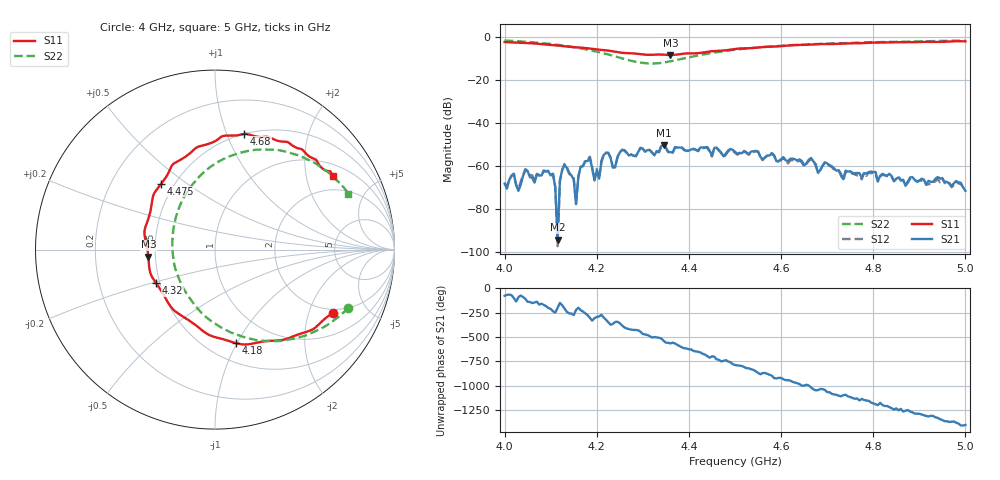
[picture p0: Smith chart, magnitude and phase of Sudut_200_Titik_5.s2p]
# Hz S RI R 50
! CMT, C1220, 16058040, 17.2.0/1
! Date: 15/08/2018 12:21:51
! Data: Format (Calibration Info)
! Freq  S11: Re/Im (F2)  S21: Re/Im (F2)  S12: Re/Im (F2)  S22: Re/Im (F2)
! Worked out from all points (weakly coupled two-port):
!   201 points, 4 GHz to 5 GHz, reference 50 ohm
!   highest |S21| = -50.36 dB at 4.345 GHz (marker M1); lowest = -94.2 dB at 4.115 GHz (marker M2)
!   lowest |S11| = -8.6 dB at 4.36 GHz (marker M3), VSWR 2.19, Z = 22.9 - j2.09 ohm
!   |S11| at or under -10 dB: nowhere
!   |S22| runs from -12.5 to -1.8 dB; largest |S21 - S12| = 0.00017
!   S11 on the Smith chart (normalised r, x): 4 GHz: 1.83, -2.90; 4.18 GHz: 0.68, -0.99; 4.32 GHz: 0.48, -0.21; 4.475 GHz: 0.43, +0.40; 4.68 GHz: 0.50, +1.15; 5 GHz: 1.39, +2.85
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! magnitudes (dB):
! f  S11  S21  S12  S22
! 4 GHz  -2.6  -68.2  -68.0  -1.8
! 4.095 GHz  -3.8  -62.5  -62.2  -3.3
! 4.105 GHz  -4.0  -63.6  -63.7  -3.6
! 4.115 GHz  -4.2  -94.2  -97.1  -3.8
! 4.13 GHz  -4.6  -59.4  -59.1  -4.3
! 4.15 GHz  -4.9  -66.2  -65.5  -4.9
! 4.155 GHz  -5.0  -77.7  -77.5  -5.1
! 4.17 GHz  -5.2  -60.1  -60.0  -5.7
! 4.18 GHz  -5.4  -57.7  -57.1  -6.1
! 4.195 GHz  -5.9  -66.6  -66.6  -6.8
! 4.22 GHz  -6.4  -54.0  -53.8  -8.1
! 4.24 GHz  -7.1  -60.3  -60.7  -9.2
! 4.32 GHz  -8.5  -53.8  -53.7  -12.5
! 4.335 GHz  -8.3  -53.6  -53.6  -12.3
! 4.345 GHz  -8.4  -50.4  -50.4  -12.1
! 4.36 GHz  -8.6  -53.6  -53.4  -11.5
! 4.475 GHz  -6.5  -55.5  -55.9  -6.8
! 4.5 GHz  -5.8  -53.4  -53.9  -6.1
! 4.67 GHz  -3.6  -57.8  -58.3  -3.5
! 4.68 GHz  -3.5  -63.2  -62.8  -3.4
! 4.835 GHz  -2.8  -63.6  -64.2  -2.5
! 5 GHz  -2.2  -71.5  -69.1  -1.9
